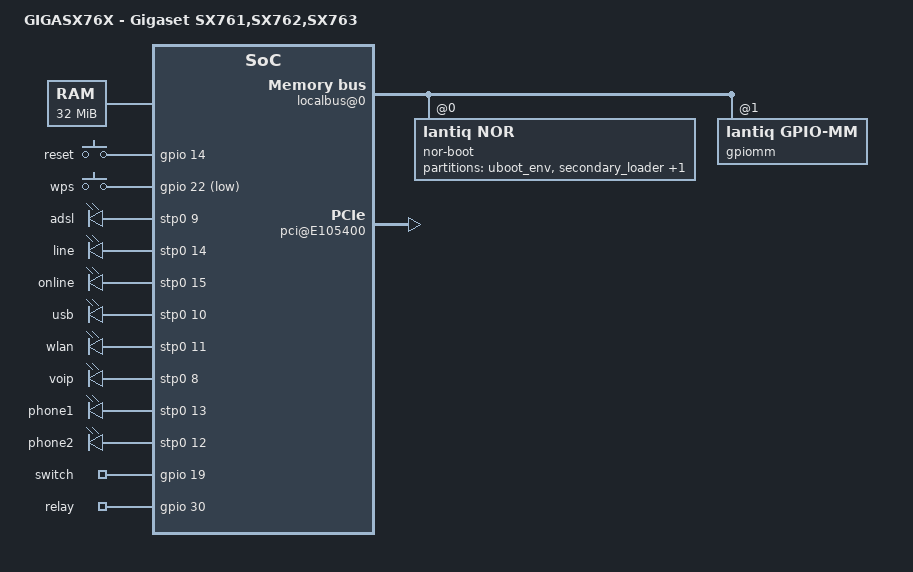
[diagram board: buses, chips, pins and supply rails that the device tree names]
/dts-v1/;

/include/ "danube.dtsi"

/ {
	model = "GIGASX76X - Gigaset SX761,SX762,SX763";

	chosen {
		bootargs-append = " console=ttyLTQ0,115200 init=/etc/preinit";
	};

	memory@0 {
		reg = <0x0 0x2000000>;
	};

	sram@1F000000 {
		vmmc@107000 {
			status = "okay";
			gpios = <&gpiomm 1 0>;
		};
	};

	fpi@10000000 {
		localbus@0 {
			nor-boot@0 {
				compatible = "lantiq,nor";
				bank-width = <2>;
				reg = <0 0x0 0x2000000>;
				#address-cells = <1>;
				#size-cells = <1>;

				partition@e000 {
					label = "uboot_env";
					reg = <0xe000 0x2000>;
				};

				partition@10000 {
					label = "secondary_loader";
					reg = <0x10000 0x10000>;
				};

				partition@20000 {
					label = "firmware";
					reg = <0x20000 0x7e0000>;
				};
			};

			gpiomm: gpiomm@4000000 {
				compatible = "lantiq,gpio-mm";
				reg = <1 0x0 0x10 >;
				#address-cells = <1>;
				#size-cells = <1>;
				#gpio-cells = <2>;
				gpio-controller;
				lantiq,shadow = <0x3>;
			};
		};

		gpio: pinmux@E100B10 {
			compatible = "lantiq,pinctrl-xway";
			pinctrl-names = "default";
			pinctrl-0 = <&state_default>;

			#gpio-cells = <2>;
			gpio-controller;
			reg = <0xE100B10 0xA0>;

			state_default: pinmux {
				stp {
					lantiq,groups = "stp";
					lantiq,function = "stp";
					lantiq,pull = <2>;
					lantiq,open-drain = <0>;
					lantiq,output = <1>;
				};
			};
		};

		stp0: stp@E100BB0 {
			status = "okay";
			compatible = "lantiq,gpio-stp-xway";
			reg = <0xE100BB0 0x40>;
			#gpio-cells = <2>;
			gpio-controller;

			lantiq,shadow = <0xfff>;
			lantiq,groups = <0x3>;
		};

		etop@E180000 {
			phy-mode = "rmii";
		};

		ifxhcd@E101000 {
			status = "okay";
			gpios = <&gpio 29 0>;
		};

		pci@E105400 {
			status = "okay";
			lantiq,internal-clock;
			gpio-reset = <&gpio 21 0>;
			req-mask = <0x1>;
		};
	};

	ath5k_eep {
		compatible = "ath5k,eeprom";
		ath,sx763_hack;
        };

	gpio-keys-polled {
		compatible = "gpio-keys-polled";
		#address-cells = <1>;
		#size-cells = <0>;
		poll-interval = <100>;

		reset {
			label = "reset";
			gpios = <&gpio 14 0>;
			linux,code = <0x198>;
		};
		wps {
			label = "wps";
			gpios = <&gpio 22 1>;
			linux,code = <0x211>;
		};
	};

	gpio-leds {
		compatible = "gpio-leds";

		adsl {
			label = "adsl";
			gpios = <&stp0 9 0>;
		};
		line {
			label = "line";
			gpios = <&stp0 14 0>;
		};
		online {
			label = "online";
			gpios = <&stp0 15 0>;
		};
		usb {
			label = "usb";
			gpios = <&stp0 10 0>;
		};
		wlan {
			label = "wlan";
			gpios = <&stp0 11 0>;
		};
		voip {
			label = "voip ";
			gpios = <&stp0 8 0>;
		};
		phone1 {
			label = "phone1";
			gpios = <&stp0 13 0>;
		};
		phone2 {
			label = "phone2";
			gpios = <&stp0 12 0>;
		};
	};

	gpio_export {
		compatible = "gpio-export";
		#size-cells = <0>;

		switch {
			gpio-export,name = "switch";
			gpio-export,output = <1>;
			gpios = <&gpio 19 0>;
		};

		relay {
			gpio-export,name = "relay";
			gpio-export,output = <1>;
			gpios = <&gpio 30 0>;
		};
	};
};
